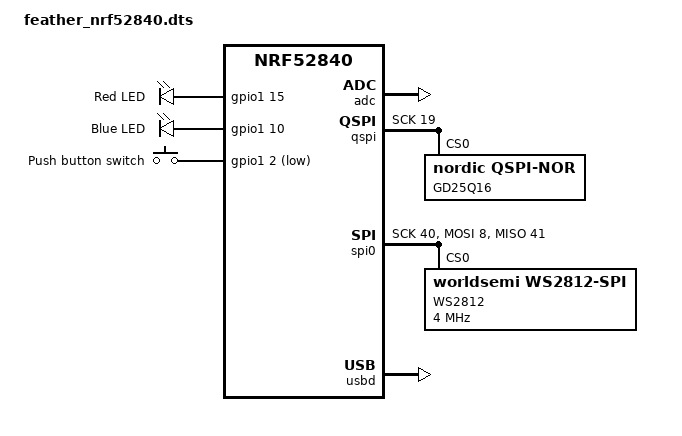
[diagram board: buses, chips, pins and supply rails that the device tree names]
/dts-v1/;
#include <nordic/nrf52840_qiaa.dtsi>

#include <dt-bindings/led/led.h>

 / {
	chosen {
		zephyr,bt-mon-uart = &uart0;
		zephyr,bt-c2h-uart = &uart0;
		zephyr,sram = &sram0;
		zephyr,flash = &flash0;
		zephyr,code-partition = &flash_code_raw;
        zephyr,console = &cdc_dev;
	};

	leds {
		compatible = "gpio-leds";
        label = "board_leds";
		led0: led_0 {
			gpios = <&gpio1 15 0>;
			label = "Red LED";
		};
		led1: led_1 {
			gpios = <&gpio1 10 0>;
			label = "Blue LED";
		};
	};

	buttons {
		compatible = "gpio-keys";
		button0: button_0 {
			gpios = <&gpio1 2 (GPIO_PULL_UP | GPIO_ACTIVE_LOW)>;
			label = "Push button switch";
		};
	};

	aliases {
		led0 = &led0;
		led1 = &led1;
		sw0 = &button0;
	};
};

&adc {
	status = "okay";
};

&gpiote {
	status = "okay";
};

&gpio0 {
	status = "okay";
};

&gpio1 {
	status = "okay";
};

&qspi {
	status = "okay";
	sck-pin = <19>;
	io-pins = <17>, <22>, <23>, <21>;
	csn-pins = <20>;
	gd25q16: gd25q16@0 {
		/* NOTE: Quad mode not supported as driver does not handle
		 * QE bit setting in SR2. Ref. GD25Q16C, Rev 3.0, p. 12.
		 */
		compatible = "nordic,qspi-nor";
		reg = <0>;
		writeoc = "pp2o";
		readoc = "read2io";
		sck-frequency = <16000000>;
		label = "GD25Q16";
		jedec-id = [c8 40 15];
		size = <16777216>;
		has-dpd;
		t-enter-dpd = <20000>;
		t-exit-dpd = <20000>;
	};
};

&spi0 {
    compatible = "nordic,nrf-spim";
    status = "okay";
    sck-pin = <40>;
    mosi-pin = <8>;
    miso-pin = <41>;

    neopixel: ws2812@0 {
        compatible = "worldsemi,ws2812-spi";
        label = "WS2812";
        status = "okay";

        /* SPI */
        reg = <0>; /* ignored, but necessary for SPI bindings */
        spi-max-frequency = <4000000>;

        /* WS2812 */
        chain-length = <12>; /* LED strip length */
        spi-one-frame = <0x70>;
        spi-zero-frame = <0x40>;
        color-mapping = <LED_COLOR_ID_GREEN LED_COLOR_ID_RED LED_COLOR_ID_BLUE LED_COLOR_ID_WHITE>;
    };
};

&i2c0 {
    status = "disabled";
};

&spi1 {
    status = "disabled";
};

&led0 {
    status = "okay";
};

&led1 {
    status = "okay";
};

&flash0 {
	/*
	 * For more information, see:
	 * http://docs.zephyrproject.org/latest/devices/dts/flash_partitions.html
	 */
	my-partitions {
		compatible = "fixed-partitions";
		#address-cells = <1>;
		#size-cells = <1>;

		flash_sd: partition_sd@0 {
			label = "softdevice";
			reg = <0x00000000 0x00026000>;
		};
		flash_mbr: partition@0 {
			label = "mbr";
			reg = <0x00000000 0x00001000>;
		};
		flash_code_soft: partition@26000 {
			label = "code_partition_softdevice";
			reg = <0x00026000 0x000c6000>;
		};
		flash_code: partition@1000 {
			label = "code_partition";
			reg = <0x00001000 0x000eb000>;
		};
		flash_code_raw: partition_raw@0 {
			label = "raw_code_partition";
			reg = <0x00000000 0x000ec000>;
		};

		/*
		 * The flash starting at 0x000ec000 and ending at
		 * 0x000f3fff is reserved for use by the application.
		 */

		/*
		 * Storage partition will be used by FCB/LittleFS/NVS
		 * if enabled.
		 */
		flash_storage: partition@ec000 {
			label = "storage";
			reg = <0x000ec000 0x00008000>;
		};

		flash_boot: partition@f4000 {
			label = "adafruit_boot";
			reg = <0x000f4000 0x0000c000>;
		};
	};
};

zephyr_udc0: &usbd {
	compatible = "nordic,nrf-usbd";
	status = "okay";

	cdc_dev: cdc_acm_uart0 {
		compatible = "zephyr,cdc-acm-uart";
		label = "CDC_ACM_0";
	};
};
